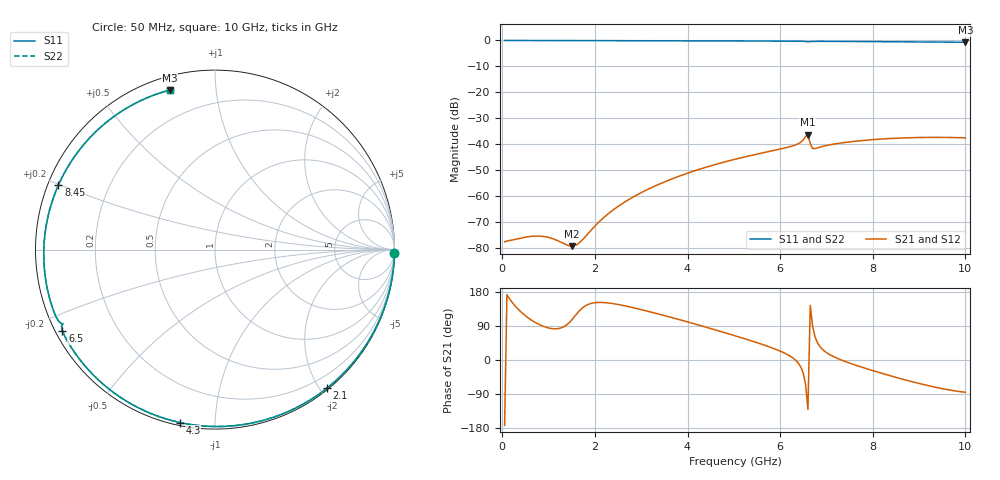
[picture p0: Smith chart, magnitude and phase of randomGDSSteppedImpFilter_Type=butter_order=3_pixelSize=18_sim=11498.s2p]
! freq	dB(S11)	phase(S11)	dB(S12)	phase(S12)
!  dB(S21)	phase(S21)	dB(S22)	phase(S22)
!S-par simulation data
#  GHz  S  DB  R 50
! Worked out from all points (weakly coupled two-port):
!   200 points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, 50 MHz to 10 GHz, reference 50 ohm
!   highest |S21| = -36.35 dB at 6.6 GHz (marker M1); lowest = -79.2 dB at 1.5 GHz (marker M2)
!   lowest |S11| = -0.7 dB at 10 GHz (marker M3), VSWR 25.29, Z = 3.11 + j37.7 ohm
!   |S11| at or under -10 dB: nowhere
!   |S22| runs from -0.7 to 0.0 dB; largest |S21 - S12| = 0
!   S11 on the Smith chart (normalised r, x): 50 MHz: 0, -92; 2.1 GHz: 0.02, -2.09; 4.3 GHz: 0.01, -0.82; 6.5 GHz: 0.02, -0.25; 8.45 GHz: 0.03, +0.20; 10 GHz: 0.06, +0.75
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0.05  -0.00 -1.2  -77.57 -172.7  -77.57 -172.7  -0.00 -1.2
0.55  -0.01 -13.6  -75.61 111.9  -75.61 111.9  -0.01 -13.6
0.8  -0.02 -19.8  -75.36 93.3  -75.36 93.3  -0.02 -19.8
1.05  -0.03 -25.9  -76.12 83.3  -76.12 83.3  -0.03 -25.9
1.5  -0.05 -36.8  -79.23 105.9  -79.23 105.9  -0.05 -36.8
1.6  -0.05 -39.2  -78.75 120.8  -78.75 120.8  -0.05 -39.2
1.75  -0.05 -42.7  -76.40 139.3  -76.40 139.3  -0.05 -42.7
2.1  -0.07 -51.1  -69.69 152.0  -69.69 152.0  -0.07 -51.1
2.65  -0.08 -63.9  -62.16 142.8  -62.16 142.8  -0.08 -64.0
3.4  -0.11 -81.2  -55.26 120.5  -55.26 120.5  -0.11 -81.2
4.3  -0.15 -101.5  -49.37 90.1  -49.37 90.1  -0.15 -101.5
5.05  -0.19 -118.3  -45.65 63.0  -45.65 63.0  -0.19 -118.3
6.25  -0.27 -145.7  -40.73 7.6  -40.73 7.6  -0.27 -145.7
6.5  -0.33 -151.9  -38.27 -35.3  -38.27 -35.3  -0.33 -152.0
6.6  -0.51 -154.0  -36.35 -130.5  -36.35 -130.5  -0.52 -154.1
6.65  -0.43 -154.3  -39.81 143.8  -39.81 143.8  -0.44 -154.3
6.7  -0.37 -155.6  -41.59 89.9  -41.59 89.9  -0.37 -155.6
7.55  -0.40 -177.4  -38.97 -10.3  -38.97 -10.3  -0.40 -177.4
8.35  -0.49 160.6  -37.79 -40.6  -37.79 -40.6  -0.49 160.5
8.45  -0.50 157.6  -37.69 -44.1  -37.69 -44.1  -0.50 157.6
9.2  -0.60 134.1  -37.34 -67.7  -37.34 -67.7  -0.60 134.1
10  -0.69 105.8  -37.51 -85.3  -37.51 -85.3  -0.69 105.7
